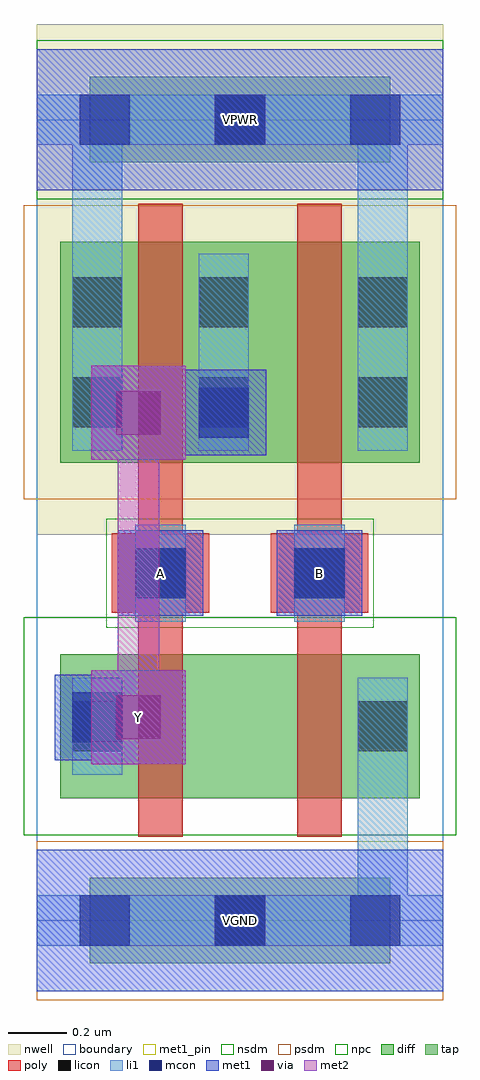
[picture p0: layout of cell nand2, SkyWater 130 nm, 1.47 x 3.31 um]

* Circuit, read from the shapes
.subckt nand2 A B VGND VPWR Y
XM1 n1 A Y VGND sky130_fd_pr__nfet_01v8 w=0.49 l=0.15
XM2 VGND B n1 VGND sky130_fd_pr__nfet_01v8 w=0.49 l=0.15
XM3 Y A VPWR VPWR sky130_fd_pr__pfet_01v8 w=0.75 l=0.15
XM4 VPWR B Y VPWR sky130_fd_pr__pfet_01v8 w=0.75 l=0.15
.ends

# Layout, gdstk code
import gdstk
lib = gdstk.Library(unit=1e-6, precision=1e-09)
def R(c, l, rs):  # rectangles x0, y0, x1, y1
    for r in rs: c.add(gdstk.rectangle(r[:2], r[2:], *l))
def A(c, l, x, y, w, h, nx, ny, dx, dy):  # array of equal rectangles
    R(c, l, [(x+i*dx, y+j*dy, x+i*dx+w, y+j*dy+h) for i in range(nx) for j in range(ny)])
nwell = (64, 20)
diff = (65, 20)
tap = (65, 44)
poly = (66, 20)
licon = (66, 44)
li1 = (67, 20)
mcon = (67, 44)
met1_pin = (68, 16)
met1 = (68, 20)
via = (68, 44)
met2 = (69, 20)
nsdm = (93, 44)
psdm = (94, 20)
npc = (95, 20)
boundary = (235, 4)

nand2 = lib.new_cell('nand2')
R(nand2, nwell, [(0,1.31,1.38,3.045)])
R(nand2, diff, [(0.08,0.415,1.3,0.905), (0.08,1.555,1.3,2.305)])
R(nand2, tap, [(0.18,-0.145,1.2,0.145), (0.18,2.575,1.2,2.865)])
R(nand2, poly, [(0.345,0.285,0.495,2.435), (0.885,0.285,1.035,2.435), (0.255,1.045,0.585,1.315), (0.795,1.045,1.125,1.315)])
R(nand2, licon, [(0.605,-0.085,0.775,0.085), (0.12,0.575,0.29,0.745), (1.09,0.575,1.26,0.745), (0.335,1.095,0.505,1.265), (0.875,1.095,1.045,1.265), (0.12,1.675,0.29,1.845), (0.55,1.675,0.72,1.845), (1.09,1.675,1.26,1.845), (0.12,2.015,0.29,2.185), (0.55,2.015,0.72,2.185), (1.09,2.015,1.26,2.185), (0.605,2.635,0.775,2.805)])
R(nand2, li1, [(0,-0.085,1.38,0.085), (1.09,-0.085,1.26,0.825), (0.12,0.495,0.29,0.825), (1.09,0.495,1.26,0.825), (0.335,1.015,0.505,1.345), (0.875,1.015,1.045,1.345), (0.12,1.595,0.29,2.265), (0.12,1.595,0.29,2.805), (0.55,1.595,0.72,2.265), (1.09,1.595,1.26,2.265), (1.09,1.595,1.26,2.805), (0,2.635,1.38,2.805)])
A(nand2, mcon, 0.145, -0.085, 0.17, 0.17, 3, 2, 0.46, 2.72)
R(nand2, mcon, [(0.12,0.605,0.29,0.775), (0.335,1.095,0.505,1.265), (0.875,1.095,1.045,1.265), (0.55,1.64,0.72,1.81)])
R(nand2, met1_pin, [(0,-0.24,1.38,0.24), (0.185,0.53,0.505,0.85), (0.275,1.035,0.565,1.325), (0.815,1.035,1.105,1.325), (0,2.48,1.38,2.96)])
R(nand2, met1, [(0,-0.24,1.38,0.24), (0.185,0.53,0.505,0.85), (0.06,0.545,0.35,0.835), (0.135,0.62,0.415,0.76), (0.275,1.035,0.565,1.325), (0.815,1.035,1.105,1.325), (0.185,1.565,0.505,1.885), (0.49,1.58,0.78,1.87), (0.275,1.655,0.53,1.795), (0.39,1.655,0.705,1.795), (0,2.48,1.38,2.96)])
R(nand2, via, [(0.27,0.615,0.42,0.765), (0.27,1.65,0.42,1.8)])
R(nand2, met2, [(0.185,0.53,0.505,0.85), (0.275,0.62,0.415,1.795), (0.185,1.565,0.505,1.885)])
R(nand2, nsdm, [(-0.045,0.29,1.425,1.03), (0,2.45,1.38,2.99)])
R(nand2, psdm, [(0,-0.27,1.38,0.27), (-0.045,1.43,1.425,2.43)])
R(nand2, npc, [(0.235,0.995,1.145,1.365)])
R(nand2, boundary, [(0,0,1.38,2.72)])
nand2.add(gdstk.Label('A', (0.42,1.18), layer=68, texttype=5))
nand2.add(gdstk.Label('B', (0.96,1.18), layer=68, texttype=5))
nand2.add(gdstk.Label('Y', (0.345,0.69), layer=68, texttype=5))
nand2.add(gdstk.Label('VPWR', (0.69,2.72), layer=68, texttype=5))
nand2.add(gdstk.Label('VGND', (0.69,0), layer=68, texttype=5))
nand2.add(gdstk.Label('A', (0.42,1.18), layer=68, texttype=16))
nand2.add(gdstk.Label('B', (0.96,1.18), layer=68, texttype=16))
nand2.add(gdstk.Label('Y', (0.345,0.69), layer=68, texttype=16))
nand2.add(gdstk.Label('VPWR', (0.69,2.72), layer=68, texttype=16))
nand2.add(gdstk.Label('VGND', (0.69,0), layer=68, texttype=16))

lib.write_gds('nand2.gds')
